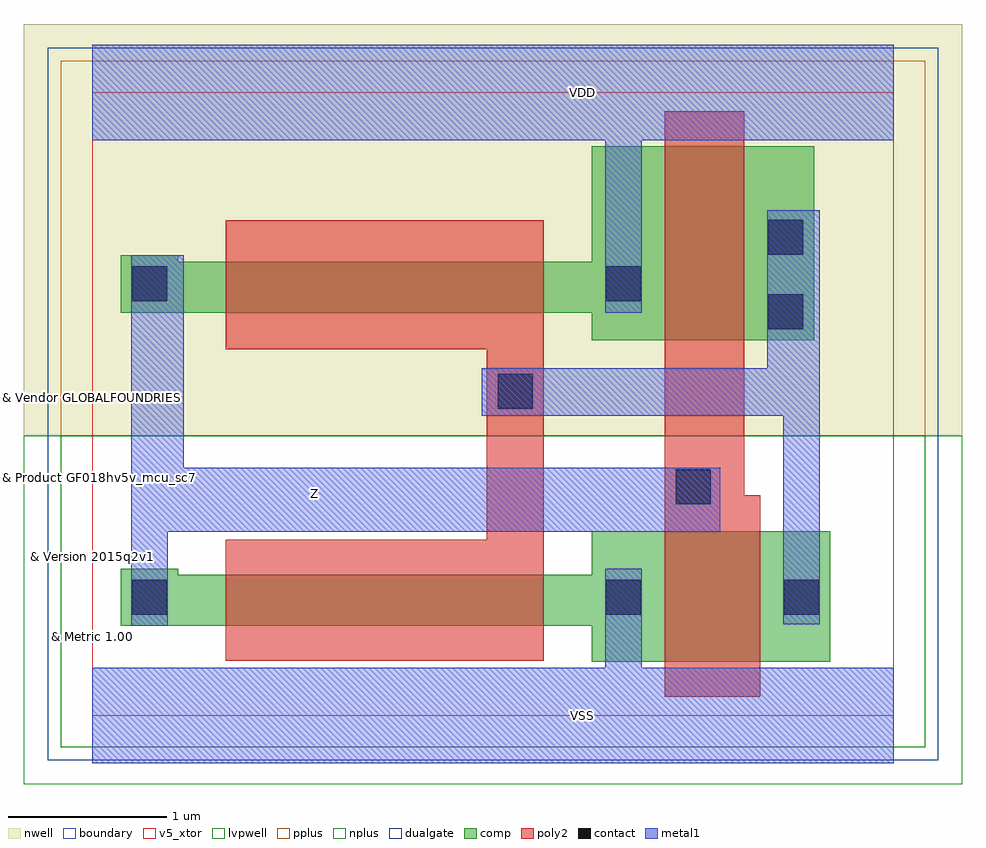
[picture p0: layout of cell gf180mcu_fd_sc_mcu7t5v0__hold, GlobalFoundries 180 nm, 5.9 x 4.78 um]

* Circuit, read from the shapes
.subckt gf180mcu_fd_sc_mcu7t5v0__hold VDD VSS Z
XM1 VSS n1 Z VSUBS nfet_05v0 w=0.32u l=2u
XM2 n1 Z VSS VSUBS nfet_05v0 w=0.82u l=0.6u
XM3 VDD n1 Z n2 pfet_05v0 w=0.32u l=2u
XM4 n1 Z VDD n2 pfet_05v0 w=1.22u l=0.5u
.ends

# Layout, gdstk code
import gdstk
lib = gdstk.Library(unit=1e-6, precision=1e-09)
def R(c, l, rs):  # rectangles x0, y0, x1, y1
    for r in rs: c.add(gdstk.rectangle(r[:2], r[2:], *l))
def P(c, l, *ps):  # polygons
    for p in ps: c.add(gdstk.Polygon(p, *l))
boundary = (0, 0)
nwell = (21, 0)
comp = (22, 0)
poly2 = (30, 0)
pplus = (31, 0)
nplus = (32, 0)
contact = (33, 0)
metal1 = (34, 0)
dualgate = (55, 0)
v5_xtor = (112, 1)
lvpwell = (204, 0)

gf180mcu_fd_sc_mcu7t5v0_ = lib.new_cell('gf180mcu_fd_sc_mcu7t5v0__hold')
R(gf180mcu_fd_sc_mcu7t5v0_, boundary, [(0,0,5.04,3.92)])
R(gf180mcu_fd_sc_mcu7t5v0_, nwell, [(-0.43,1.76,5.47,4.35)])
P(gf180mcu_fd_sc_mcu7t5v0_, comp, [(3.14,2.36),(3.14,2.535),(0.18,2.535),(0.18,2.895),(0.54,2.895),(0.54,2.855),(3.14,2.855),(3.14,3.58),(4.54,3.58),(4.54,2.36)],
  [(3.14,0.34),(3.14,0.565),(0.18,0.565),(0.18,0.925),(0.54,0.925),(0.54,0.885),(3.14,0.885),(3.14,1.16),(4.64,1.16),(4.64,0.34)])
P(gf180mcu_fd_sc_mcu7t5v0_, poly2, [(0.84,0.345),(0.84,1.105),(2.48,1.105),(2.48,2.305),(0.84,2.305),(0.84,3.115),(2.84,3.115),(2.84,0.345)],
  [(3.6,0.12),(3.6,3.8),(4.1,3.8),(4.1,1.385),(4.2,1.385),(4.2,0.12)])
R(gf180mcu_fd_sc_mcu7t5v0_, pplus, [(-0.2,1.76,5.24,4.12)])
R(gf180mcu_fd_sc_mcu7t5v0_, nplus, [(-0.2,-0.2,5.24,1.76)])
R(gf180mcu_fd_sc_mcu7t5v0_, contact, [(0.25,0.635,0.47,0.855), (3.23,0.635,3.45,0.855), (4.35,0.635,4.57,0.855), (3.67,1.33,3.89,1.55), (2.55,1.93,2.77,2.15), (4.25,2.43,4.47,2.65), (0.25,2.605,0.47,2.825), (3.23,2.605,3.45,2.825), (4.25,2.9,4.47,3.12)])
P(gf180mcu_fd_sc_mcu7t5v0_, metal1, [(0.245,0.565),(0.245,2.895),(0.575,2.895),(0.575,1.56),(3.95,1.56),(3.95,1.155),(0.475,1.155),(0.475,0.565)],
  [(4.345,0.575),(4.345,1.885),(2.45,1.885),(2.45,2.185),(4.245,2.185),(4.245,3.18),(4.575,3.18),(4.575,0.575)],
  [(0,-0.3),(0,0.3),(3.225,0.3),(3.225,0.925),(3.455,0.925),(3.455,0.3),(5.04,0.3),(5.04,-0.3)],
  [(3.225,2.535),(3.225,3.62),(0,3.62),(0,4.22),(5.04,4.22),(5.04,3.62),(3.455,3.62),(3.455,2.535)])
R(gf180mcu_fd_sc_mcu7t5v0_, dualgate, [(-0.28,-0.28,5.32,4.2)])
R(gf180mcu_fd_sc_mcu7t5v0_, v5_xtor, [(0,0,5.04,3.92)])
R(gf180mcu_fd_sc_mcu7t5v0_, lvpwell, [(-0.43,-0.43,5.47,1.76)])
gf180mcu_fd_sc_mcu7t5v0_.add(gdstk.Label('Z', (1.4,1.4), layer=34, texttype=10))
gf180mcu_fd_sc_mcu7t5v0_.add(gdstk.Label('VDD', (3.08,3.92), layer=34, texttype=10))
gf180mcu_fd_sc_mcu7t5v0_.add(gdstk.Label('VSS', (3.08,0), layer=34, texttype=10))
gf180mcu_fd_sc_mcu7t5v0_.add(gdstk.Label('& Vendor GLOBALFOUNDRIES', (0,2), layer=63, texttype=63))
gf180mcu_fd_sc_mcu7t5v0_.add(gdstk.Label('& Product GF018hv5v_mcu_sc7', (0,1.5), layer=63, texttype=63))
gf180mcu_fd_sc_mcu7t5v0_.add(gdstk.Label('& Version 2015q2v1', (0,1), layer=63, texttype=63))
gf180mcu_fd_sc_mcu7t5v0_.add(gdstk.Label('& Metric 1.00', (0,0.5), layer=63, texttype=63))

lib.write_gds('gf180mcu_fd_sc_mcu7t5v0__hold.gds')
